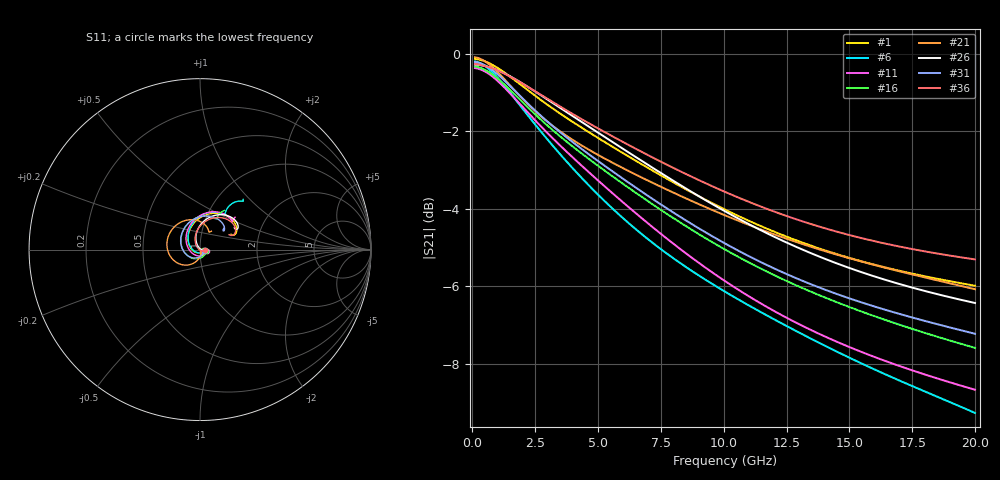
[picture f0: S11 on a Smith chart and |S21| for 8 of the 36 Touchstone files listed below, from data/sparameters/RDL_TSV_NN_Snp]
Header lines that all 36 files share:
! Created with skrf 1.9.0 (http://scikit-rf.org).
# GHz S RI R 50.0
!freq ReS11 ImS11 ReS21 ImS21 ReS12 ImS12 ReS22 ImS22
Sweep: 100 MHz to 20 GHz
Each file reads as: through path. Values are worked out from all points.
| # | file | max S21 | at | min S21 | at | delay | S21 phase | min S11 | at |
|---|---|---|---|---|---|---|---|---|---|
| 1 | dut11.s2p | -0.13 dB | 100 MHz | -6.0 dB | 20 GHz | 21.4 ps | -94 deg at 10.1 GHz | -36.4 dB | 100 MHz |
| 2 | dut35.s2p | -0.34 dB | 100 MHz | -7.5 dB | 20 GHz | 24.9 ps | -110 deg at 10.1 GHz | -50.2 dB | 1.5 GHz |
| 3 | dut36.s2p | -0.13 dB | 100 MHz | -7.2 dB | 20 GHz | 21.4 ps | -98 deg at 10.1 GHz | -36.4 dB | 100 MHz |
| 4 | dut42.s2p | -0.23 dB | 100 MHz | -6.2 dB | 20 GHz | 20.1 ps | -90 deg at 10.1 GHz | -31.6 dB | 100 MHz |
| 5 | dut50.s2p | -0.57 dB | 100 MHz | -9.2 dB | 20 GHz | 32.6 ps | -140 deg at 10.1 GHz | -24.0 dB | 600 MHz |
| 6 | dut52.s2p | -0.20 dB | 100 MHz | -9.3 dB | 20 GHz | 37.7 ps | -158 deg at 10.1 GHz | -34.3 dB | 600 MHz |
| 7 | dut54.s2p | -0.47 dB | 100 MHz | -6.3 dB | 20 GHz | 24.8 ps | -105 deg at 10.1 GHz | -54.7 dB | 1.8 GHz |
| 8 | dut55.s2p | -0.33 dB | 100 MHz | -10.1 dB | 20 GHz | 33.8 ps | -149 deg at 10.1 GHz | -28.8 dB | 400 MHz |
| 9 | dut56.s2p | -0.16 dB | 100 MHz | -6.2 dB | 20 GHz | 22.9 ps | -99 deg at 10.1 GHz | -34.6 dB | 100 MHz |
| 10 | dut71.s2p | -0.45 dB | 100 MHz | -8.9 dB | 20 GHz | 29.4 ps | -129 deg at 10.1 GHz | -25.9 dB | 100 MHz |
| 11 | dut73.s2p | -0.37 dB | 100 MHz | -8.7 dB | 20 GHz | 25.5 ps | -116 deg at 10.1 GHz | -28.5 dB | 900 MHz |
| 12 | dut92.s2p | -0.12 dB | 100 MHz | -7.8 dB | 20 GHz | 29.2 ps | -127 deg at 10.1 GHz | -37.5 dB | 100 MHz |
| 13 | dut100.s2p | -0.23 dB | 100 MHz | -6.9 dB | 20 GHz | 23.3 ps | -102 deg at 10.1 GHz | -31.6 dB | 100 MHz |
| 14 | dut101.s2p | -0.64 dB | 100 MHz | -9.9 dB | 20 GHz | 33.9 ps | -147 deg at 10.1 GHz | -34.5 dB | 1.7 GHz |
| 15 | dut111.s2p | -0.19 dB | 100 MHz | -9.7 dB | 20 GHz | 30.4 ps | -136 deg at 10.1 GHz | -33.5 dB | 100 MHz |
| 16 | dut114.s2p | -0.33 dB | 100 MHz | -7.6 dB | 20 GHz | 28.9 ps | -124 deg at 10.1 GHz | -28.7 dB | 100 MHz |
| 17 | dut133.s2p | -0.21 dB | 100 MHz | -6.3 dB | 20 GHz | 19.4 ps | -88 deg at 10.1 GHz | -58.1 dB | 1.3 GHz |
| 18 | dut140.s2p | -0.23 dB | 100 MHz | -7.8 dB | 20 GHz | 31.5 ps | -133 deg at 10.1 GHz | -31.6 dB | 100 MHz |
| 19 | dut141.s2p | -0.15 dB | 100 MHz | -5.0 dB | 20 GHz | 20.1 ps | -87 deg at 10.1 GHz | -37.3 dB | 800 MHz |
| 20 | dut156.s2p | -0.50 dB | 100 MHz | -7.3 dB | 20 GHz | 31.4 ps | -131 deg at 10.1 GHz | -35.0 dB | 1.5 GHz |
| 21 | dut168.s2p | -0.09 dB | 100 MHz | -6.1 dB | 20 GHz | 25.2 ps | -106 deg at 10.1 GHz | -36.7 dB | 100 MHz |
| 22 | dut171.s2p | -0.11 dB | 100 MHz | -7.4 dB | 20 GHz | 23.9 ps | -107 deg at 10.1 GHz | -37.8 dB | 100 MHz |
| 23 | dut183.s2p | -0.13 dB | 100 MHz | -6.3 dB | 20 GHz | 21.4 ps | -96 deg at 10.1 GHz | -66.9 dB | 800 MHz |
| 24 | dut185.s2p | -0.19 dB | 100 MHz | -7.3 dB | 20 GHz | 21.7 ps | -99 deg at 10.1 GHz | -37.9 dB | 800 MHz |
| 25 | dut186.s2p | -0.15 dB | 100 MHz | -5.0 dB | 20 GHz | 20.5 ps | -88 deg at 10.1 GHz | -35.3 dB | 100 MHz |
| 26 | dut191.s2p | -0.28 dB | 100 MHz | -6.4 dB | 20 GHz | 21.7 ps | -96 deg at 10.1 GHz | -46.5 dB | 1.5 GHz |
| 27 | dut201.s2p | -0.39 dB | 100 MHz | -7.2 dB | 20 GHz | 28.6 ps | -119 deg at 10.1 GHz | -35.5 dB | 1.4 GHz |
| 28 | dut243.s2p | -0.20 dB | 100 MHz | -7.1 dB | 20 GHz | 21.2 ps | -96 deg at 10.1 GHz | -33.1 dB | 100 MHz |
| 29 | dut246.s2p | -0.18 dB | 100 MHz | -9.8 dB | 20 GHz | 30.4 ps | -137 deg at 10.1 GHz | -38.4 dB | 700 MHz |
| 30 | dut251.s2p | -0.12 dB | 100 MHz | -4.4 dB | 20 GHz | 13.8 ps | -61 deg at 10.1 GHz | -38.3 dB | 800 MHz |
| 31 | dut255.s2p | -0.21 dB | 100 MHz | -7.2 dB | 20 GHz | 24.6 ps | -108 deg at 10.1 GHz | -32.4 dB | 100 MHz |
| 32 | dut263.s2p | -0.10 dB | 100 MHz | -7.6 dB | 20 GHz | 23.5 ps | -106 deg at 10.1 GHz | -39.0 dB | 100 MHz |
| 33 | dut280.s2p | -0.13 dB | 100 MHz | -6.8 dB | 20 GHz | 29.9 ps | -123 deg at 10.1 GHz | -36.3 dB | 100 MHz |
| 34 | dut282.s2p | -0.26 dB | 100 MHz | -7.9 dB | 20 GHz | 25.2 ps | -111 deg at 10.1 GHz | -54.2 dB | 1.2 GHz |
| 35 | dut287.s2p | -0.21 dB | 100 MHz | -5.9 dB | 20 GHz | 19.1 ps | -85 deg at 10.1 GHz | -36.8 dB | 1.4 GHz |
| 36 | dut291.s2p | -0.26 dB | 100 MHz | -5.3 dB | 20 GHz | 20.6 ps | -89 deg at 10.1 GHz | -50.1 dB | 1.6 GHz |
